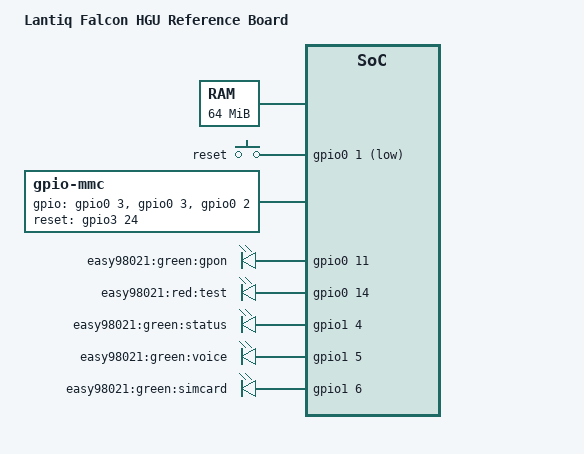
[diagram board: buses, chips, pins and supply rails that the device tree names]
/dts-v1/;

#include <dt-bindings/gpio/gpio.h>

#include "falcon.dtsi"
#include "falcon-sflash-16M.dtsi"

/ {
	model = "Lantiq Falcon HGU Reference Board";
	compatible = "lantiq,easy98021", "lantiq,easy98020", "lantiq,falcon";

	aliases {
		spi0 = &ebu_cs0;
	};

	memory@0 {
		device_type = "memory";
		reg = <0x0 0x4000000>;  // 64M at 0x0
	};

	gpio-keys {
		compatible = "gpio-keys";
		reset {
			label = "reset";
			gpios = <&gpio0 1 GPIO_ACTIVE_LOW>;
			linux,code = <0x198>;
		};
	};

	gpio-mmc {
		/* Place-holder for SIM-Card connector,
		   to list the used GPIOs, no official binding */
		compatible = "gpio-mmc";
		gpios =  <&gpio0 3 GPIO_ACTIVE_HIGH>,
			 <&gpio0 3 GPIO_ACTIVE_HIGH>,
			 <&gpio0 2 GPIO_ACTIVE_HIGH>,
			 <0>; /* no CS */
		gpio-names = "di", "do", "clk", "cs";
		reset-gpio =  <&gpio3 24 GPIO_ACTIVE_HIGH>;
	};

	pinctrl {
		led_pins: led-pins {
			lantiq,pins = "io11", "io14", "io36", "io37", "io38";
			lantiq,function = "gpio";
		};
	};

	easy98021-leds {
		compatible = "gpio-leds";
		pinctrl-names = "default";
		pinctrl-0 = <&led_pins &bootled_pins>;

		GPON {
			label = "easy98021:green:gpon";
			gpios = <&gpio0 11 GPIO_ACTIVE_HIGH>;
			default-state = "keep";
		};
		TEST {
			label = "easy98021:red:test";
			gpios = <&gpio0 14 GPIO_ACTIVE_HIGH>;
			default-state = "keep";
		};
		ETH {
			label = "easy98021:green:status";
			gpios = <&gpio1 4 GPIO_ACTIVE_HIGH>;
			default-state = "keep";
		};
		VOICE {
			label = "easy98021:green:voice";
			gpios = <&gpio1 5 GPIO_ACTIVE_HIGH>;
			default-state = "keep";
		};
		SIMCARD {
			label = "easy98021:green:simcard";
			gpios = <&gpio1 6 GPIO_ACTIVE_HIGH>;
			default-state = "keep";
		};
	};
};

